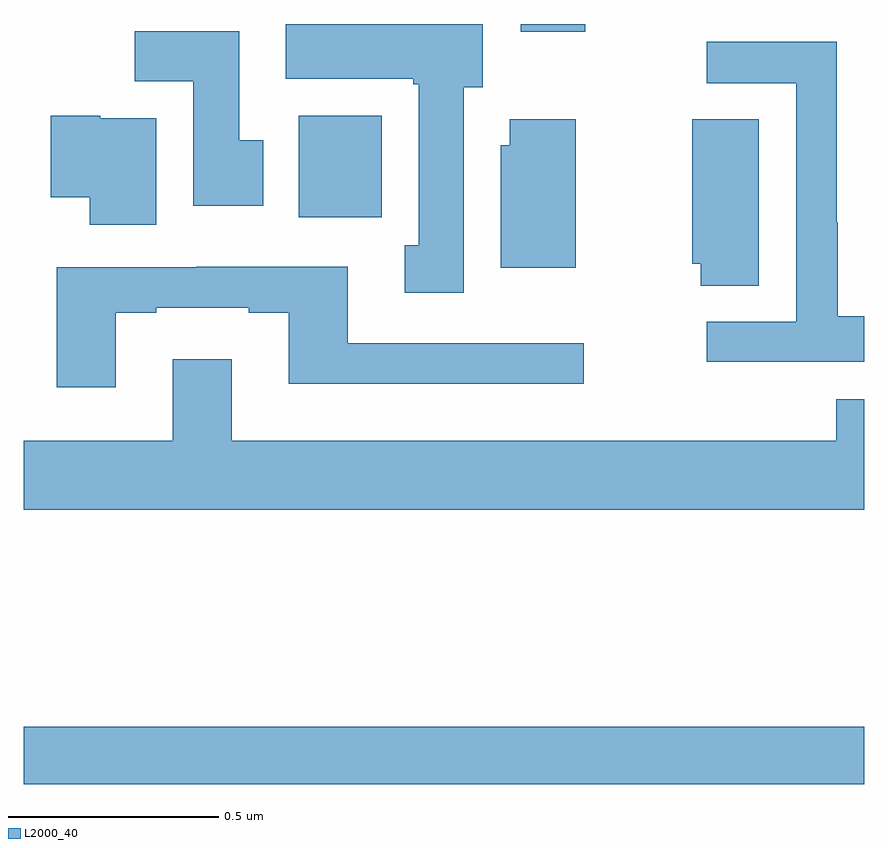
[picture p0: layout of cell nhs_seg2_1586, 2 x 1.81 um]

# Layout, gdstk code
import gdstk
lib = gdstk.Library(unit=1e-6, precision=1e-09)
def R(c, l, rs):  # rectangles x0, y0, x1, y1
    for r in rs: c.add(gdstk.rectangle(r[:2], r[2:], *l))
def P(c, l, *ps):  # polygons
    for p in ps: c.add(gdstk.Polygon(p, *l))
L2000_40 = (2000, 40)

nhs_seg2_1586 = lib.new_cell('nhs_seg2_1586')
R(nhs_seg2_1586, L2000_40, [(130,638.992,132,639.128), (130.655,640.34,130.852,640.582), (131.183,640.782,131.336,640.8)])
P(nhs_seg2_1586, L2000_40, [(131.047,640.65),(131.092,640.65),(131.092,640.8),(130.623,640.8),(130.623,640.67),(130.927,640.67),(130.927,640.657),(130.94,640.657),(130.94,640.274),(130.907,640.274),(130.907,640.161),(131.047,640.161)],
  [(130.57,640.524),(130.513,640.524),(130.513,640.783),(130.264,640.783),(130.264,640.664),(130.403,640.664),(130.403,640.368),(130.57,640.368)],
  [(132,640.105),(131.937,640.105),(131.937,640.328),(131.934,640.328),(131.934,640.758),(131.625,640.758),(131.625,640.659),(131.838,640.659),(131.838,640.092),(131.625,640.092),(131.625,639.996),(132,639.996)],
  [(130.315,640.576),(130.182,640.576),(130.182,640.582),(130.064,640.582),(130.064,640.388),(130.157,640.388),(130.157,640.323),(130.315,640.323)],
  [(131.749,640.574),(131.591,640.574),(131.591,640.23),(131.611,640.23),(131.611,640.177),(131.749,640.177)],
  [(131.314,640.573),(131.156,640.573),(131.156,640.512),(131.135,640.512),(131.135,640.22),(131.314,640.22)],
  [(130.219,640.113),(130.315,640.113),(130.315,640.125),(130.535,640.125),(130.535,640.113),(130.631,640.113),(130.631,639.944),(131.332,639.944),(131.332,640.041),(130.771,640.041),(130.771,640.222),(130.411,640.222),(130.411,640.221),(130.079,640.221),(130.079,639.936),(130.219,639.936)],
  [(132,639.907),(131.933,639.907),(131.933,639.808),(130.495,639.808),(130.495,640.003),(130.355,640.003),(130.355,639.808),(130,639.808),(130,639.644),(132,639.644)])

lib.write_gds('nhs_seg2_1586.gds')
